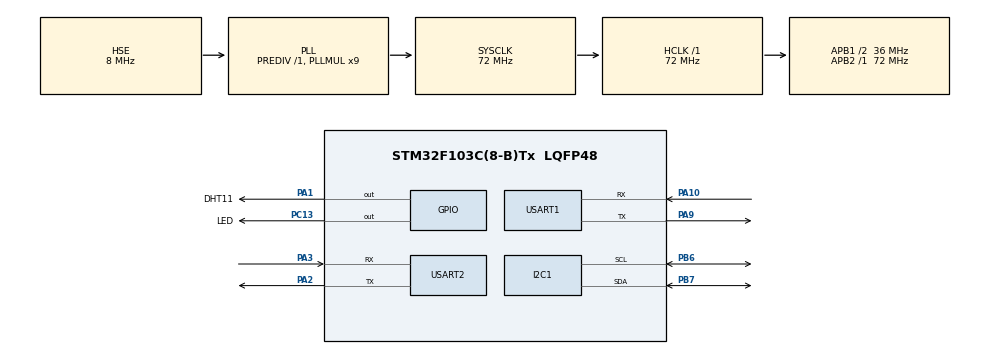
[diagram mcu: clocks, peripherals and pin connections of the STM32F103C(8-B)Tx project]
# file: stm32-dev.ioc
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Dma.I2C1_TX.0.Direction=DMA_MEMORY_TO_PERIPH
Dma.I2C1_TX.0.Instance=DMA1_Channel6
Dma.I2C1_TX.0.MemDataAlignment=DMA_MDATAALIGN_BYTE
Dma.I2C1_TX.0.MemInc=DMA_MINC_ENABLE
Dma.I2C1_TX.0.Mode=DMA_NORMAL
Dma.I2C1_TX.0.PeriphDataAlignment=DMA_PDATAALIGN_BYTE
Dma.I2C1_TX.0.PeriphInc=DMA_PINC_DISABLE
Dma.I2C1_TX.0.Priority=DMA_PRIORITY_LOW
Dma.Request0=I2C1_TX
FREERTOS.Mutexes01=screenUpdateMutex,Dynamic,NULL,Available
FREERTOS.Queues01=sensorDataQueue,1,8,1,Dynamic,NULL,NULL
FREERTOS.Tasks01=ledTask,24,128,StartLedTask,Default,NULL,Dynamic,NULL,NULL;sensorTask,24,256,StartSensorTask,Default,NULL,Dynamic,NULL,NULL;displayTask,16,256,StartDisplayTask,Default,NULL,Dynamic,NULL,NULL
FREERTOS.configTOTAL_HEAP_SIZE=4096
I2C1.I2C_Mode=I2C_Fast
Mcu.Family=STM32F1
Mcu.Name=STM32F103C(8-B)Tx
Mcu.Package=LQFP48
NVIC.DMA1_Channel6_IRQn=true\:5\:0\:false\:false\:true\:true\:false\:true\:true
NVIC.I2C1_ER_IRQn=true\:5\:0\:false\:false\:true\:true\:true\:true\:true
NVIC.I2C1_EV_IRQn=true\:5\:0\:false\:false\:true\:true\:true\:true\:true
NVIC.PriorityGroup=NVIC_PRIORITYGROUP_4
NVIC.TIM3_IRQn=true\:5\:0\:false\:false\:true\:true\:true\:true\:true
NVIC.TIM4_IRQn=true\:15\:0\:false\:false\:true\:false\:false\:true\:true
NVIC.TimeBase=TIM4_IRQn
NVIC.TimeBaseIP=TIM4
NVIC.USART2_IRQn=true\:5\:0\:false\:false\:true\:true\:true\:true\:true
PA1.GPIO_Label=DHT11
PA1.PinState=GPIO_PIN_SET
PA1.Signal=GPIO_Output
PA10.Mode=Asynchronous
PA10.Signal=USART1_RX
PA13.Mode=Serial_Wire
PA13.Signal=SYS_JTMS-SWDIO
PA14.Mode=Serial_Wire
PA14.Signal=SYS_JTCK-SWCLK
PA2.Mode=Asynchronous
PA2.Signal=USART2_TX
PA3.Mode=Asynchronous
PA3.Signal=USART2_RX
PA9.Mode=Asynchronous
PA9.Signal=USART1_TX
PB6.Mode=I2C
PB6.Signal=I2C1_SCL
PB7.Mode=I2C
PB7.Signal=I2C1_SDA
PC13-TAMPER-RTC.GPIO_Label=LED
PC13-TAMPER-RTC.Signal=GPIO_Output
PD0-OSC_IN.Mode=HSE-External-Oscillator
PD0-OSC_IN.Signal=RCC_OSC_IN
PD1-OSC_OUT.Mode=HSE-External-Oscillator
PD1-OSC_OUT.Signal=RCC_OSC_OUT
ProjectManager.HeapSize=0x200
ProjectManager.StackSize=0x400
ProjectManager.TargetToolchain=CMake
RCC.AHBFreq_Value=72000000
RCC.APB1CLKDivider=RCC_HCLK_DIV2
RCC.APB1Freq_Value=36000000
RCC.APB1TimFreq_Value=72000000
RCC.APB2Freq_Value=72000000
RCC.APB2TimFreq_Value=72000000
RCC.HCLKFreq_Value=72000000
RCC.PLLMUL=RCC_PLL_MUL9
RCC.PLLSourceVirtual=RCC_PLLSOURCE_HSE
RCC.SYSCLKFreq_VALUE=72000000
RCC.SYSCLKSource=RCC_SYSCLKSOURCE_PLLCLK
RCC.USBFreq_Value=72000000
TIM2.Prescaler=71
TIM3.Prescaler=7199
USART1.VirtualMode=VM_ASYNC
USART2.VirtualMode=VM_ASYNC
VP_FREERTOS_VS_CMSIS_V2.Mode=CMSIS_V2
VP_SYS_VS_tim4.Mode=TIM4
VP_TIM2_VS_ClockSourceINT.Mode=Internal
VP_TIM3_VS_ClockSourceINT.Mode=Internal
board=custom

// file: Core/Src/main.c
/* USER CODE BEGIN Header */
/**
  ******************************************************************************
  * @file           : main.c
  * @brief          : Main program body
  ******************************************************************************
  * @attention
  *
  * Copyright (c) 2025 STMicroelectronics.
  * All rights reserved.
  *
  * This software is licensed under terms that can be found in the LICENSE file
  * in the root directory of this software component.
  * If no LICENSE file comes with this software, it is provided AS-IS.
  *
  ******************************************************************************
  */
/* USER CODE END Header */
#include "main.h"
#include "cmsis_os.h"
#include "dma.h"
#include "i2c.h"
#include "tim.h"
#include "usart.h"
#include "gpio.h"

/* USER CODE BEGIN PV */
osSemaphoreId_t i2cDmaSemaphoreHandle;
const osSemaphoreAttr_t i2cDmaSemaphore_attributes = {
  .name = "i2cDmaSemaphore"
};
volatile uint32_t g_HighFrequencyTimerTicks = 0;
/* USER CODE END PV */

void SystemClock_Config(void);
void MX_FREERTOS_Init(void);

int main(void)
{

  /* MCU Configuration--------------------------------------------------------*/

  /* Reset of all peripherals, Initializes the Flash interface and the Systick. */
  HAL_Init();

  /* Configure the system clock */
  SystemClock_Config();

  /* Initialize all configured peripherals */
  MX_GPIO_Init();
  MX_DMA_Init();
  MX_I2C1_Init();
  MX_USART1_UART_Init();
  MX_TIM2_Init();
  MX_USART2_UART_Init();
  MX_TIM3_Init();
  /* USER CODE BEGIN 2 */
  i2cDmaSemaphoreHandle = osSemaphoreNew(1, 0, &i2cDmaSemaphore_attributes);
  if (i2cDmaSemaphoreHandle == NULL) {
    Error_Handler();
  }
  /* USER CODE END 2 */

  /* Init scheduler */
  osKernelInitialize();  /* Call init function for freertos objects (in cmsis_os2.c) */
  MX_FREERTOS_Init();

  /* Start scheduler */
  osKernelStart();

  /* We should never get here as control is now taken by the scheduler */

  /* Infinite loop */
  while (1)
  {

  }
}

void SystemClock_Config(void)
{
  RCC_OscInitTypeDef RCC_OscInitStruct = {0};
  RCC_ClkInitTypeDef RCC_ClkInitStruct = {0};

  /** Initializes the RCC Oscillators according to the specified parameters
  * in the RCC_OscInitTypeDef structure.
  */
  RCC_OscInitStruct.OscillatorType = RCC_OSCILLATORTYPE_HSE;
  RCC_OscInitStruct.HSEState = RCC_HSE_ON;
  RCC_OscInitStruct.HSEPredivValue = RCC_HSE_PREDIV_DIV1;
  RCC_OscInitStruct.HSIState = RCC_HSI_ON;
  RCC_OscInitStruct.PLL.PLLState = RCC_PLL_ON;
  RCC_OscInitStruct.PLL.PLLSource = RCC_PLLSOURCE_HSE;
  RCC_OscInitStruct.PLL.PLLMUL = RCC_PLL_MUL9;
  if (HAL_RCC_OscConfig(&RCC_OscInitStruct) != HAL_OK)
  {
    Error_Handler();
  }

  /** Initializes the CPU, AHB and APB buses clocks
  */
  RCC_ClkInitStruct.ClockType = RCC_CLOCKTYPE_HCLK|RCC_CLOCKTYPE_SYSCLK
                              |RCC_CLOCKTYPE_PCLK1|RCC_CLOCKTYPE_PCLK2;
  RCC_ClkInitStruct.SYSCLKSource = RCC_SYSCLKSOURCE_PLLCLK;
  RCC_ClkInitStruct.AHBCLKDivider = RCC_SYSCLK_DIV1;
  RCC_ClkInitStruct.APB1CLKDivider = RCC_HCLK_DIV2;
  RCC_ClkInitStruct.APB2CLKDivider = RCC_HCLK_DIV1;

  if (HAL_RCC_ClockConfig(&RCC_ClkInitStruct, FLASH_LATENCY_2) != HAL_OK)
  {
    Error_Handler();
  }
}

void HAL_TIM_PeriodElapsedCallback(TIM_HandleTypeDef *htim)
{
  /* USER CODE BEGIN Callback 0 */
  if (htim->Instance == TIM3) {
    g_HighFrequencyTimerTicks++;
  }
  /* USER CODE END Callback 0 */
  if (htim->Instance == TIM4)
  {
    HAL_IncTick();
  }
}

void Error_Handler(void)
{
  __disable_irq();
  while (1)
  {
  }
}

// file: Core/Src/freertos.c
/* USER CODE BEGIN Header */
/**
  ******************************************************************************
  * File Name          : freertos.c
  * Description        : Code for freertos applications
  ******************************************************************************
  * @attention
  *
  * Copyright (c) 2025 STMicroelectronics.
  * All rights reserved.
  *
  * This software is licensed under terms that can be found in the LICENSE file
  * in the root directory of this software component.
  * If no LICENSE file comes with this software, it is provided AS-IS.
  *
  ******************************************************************************
  */
/* USER CODE END Header */

#include "FreeRTOS.h"
#include "task.h"
#include "main.h"
#include "cmsis_os.h"

/* USER CODE BEGIN Includes */
#include <math.h>
#include <stdarg.h>
#include <stdio.h>
#include <stdlib.h>
#include <string.h>

#include "DHT11.h"
#include "tim.h"
#include "u8g2.h"
#include "u8g2_stm32_hal.h"
#include "usart.h"
#include "face_wrapper.h"
/* USER CODE END Includes */

/* USER CODE BEGIN Variables */
static u8g2_t u8g2;
/* USER CODE END Variables */
/* Definitions for ledTask */
osThreadId_t ledTaskHandle;
const osThreadAttr_t ledTask_attributes = {
  .name = "ledTask",
  .stack_size = 128 * 4,
  .priority = (osPriority_t) osPriorityNormal,
};
/* Definitions for sensorTask */
osThreadId_t sensorTaskHandle;
const osThreadAttr_t sensorTask_attributes = {
  .name = "sensorTask",
  .stack_size = 256 * 4,
  .priority = (osPriority_t) osPriorityNormal,
};
/* Definitions for displayTask */
osThreadId_t displayTaskHandle;
const osThreadAttr_t displayTask_attributes = {
  .name = "displayTask",
  .stack_size = 256 * 4,
  .priority = (osPriority_t) osPriorityBelowNormal,
};
/* Definitions for sensorDataQueue */
osMessageQueueId_t sensorDataQueueHandle;
const osMessageQueueAttr_t sensorDataQueue_attributes = {
  .name = "sensorDataQueue"
};
/* Definitions for screenUpdateMutex */
osMutexId_t screenUpdateMutexHandle;
const osMutexAttr_t screenUpdateMutex_attributes = {
  .name = "screenUpdateMutex"
};

void StartLedTask(void *argument);
void StartSensorTask(void *argument);
void StartDisplayTask(void *argument);

void MX_FREERTOS_Init(void); /* (MISRA C 2004 rule 8.1) */

void MX_FREERTOS_Init(void) {
  /* USER CODE BEGIN Init */
  UART_Printf(&huart1, "[USER] STM32 USART1 is working!\r\n");
  /* USER CODE END Init */
  /* Create the mutex(es) */
  /* creation of screenUpdateMutex */
  screenUpdateMutexHandle = osMutexNew(&screenUpdateMutex_attributes);

  /* Create the queue(s) */
  /* creation of sensorDataQueue */
  sensorDataQueueHandle = osMessageQueueNew (1, 8, &sensorDataQueue_attributes);

  /* Create the thread(s) */
  /* creation of ledTask */
  ledTaskHandle = osThreadNew(StartLedTask, NULL, &ledTask_attributes);

  /* creation of sensorTask */
  sensorTaskHandle = osThreadNew(StartSensorTask, NULL, &sensorTask_attributes);

  /* creation of displayTask */
  displayTaskHandle = osThreadNew(StartDisplayTask, NULL, &displayTask_attributes);

}

/* USER CODE BEGIN Header_StartLedTask */
/**
  * @brief  Blink the LED every 500ms
  * @param  argument: Not used
  * @retval None
  */
/* USER CODE END Header_StartLedTask */
void StartLedTask(void *argument)
{
  /* USER CODE BEGIN StartLedTask */
  /* Infinite loop */
  for(;;)
  {
    HAL_GPIO_TogglePin(LED_GPIO_Port, LED_Pin);
    osDelay(500);
  }
  /* USER CODE END StartLedTask */
}

/* USER CODE BEGIN Header_StartSensorTask */
/**
* @brief Read humidity and temperature from DHT11 sensor every 2s
* @param argument: Not used
* @retval None
*/
/* USER CODE END Header_StartSensorTask */
void StartSensorTask(void *argument)
{
  /* USER CODE BEGIN StartSensorTask */
  DHT11_InitTypeDef dht;
  HAL_DHT11_Init(&dht, DHT11_GPIO_Port, DHT11_Pin, &htim2);
  DHT11_DATA_S sensorData;
  DHT11_StatusTypeDef ret;

  /* Infinite loop */
  for (;;) {
    ret = HAL_DHT11_ReadData(&dht);
    if (ret == DHT11_OK) {
      sensorData.humidity = dht.Humidity;
      sensorData.temperature = dht.Temperature;

      osMessageQueuePut(sensorDataQueueHandle, &sensorData, 0U, 0U);
    } else {
      UART_Printf(&huart1, "[USER] read data from DHT11 failed, ret %u\r\n", ret);
    }

    osDelay(2000);
  }

  HAL_DHT11_DeInit(&dht);
  /* USER CODE END StartSensorTask */
}

void StartDisplayTask(void *argument)
{
  /* USER CODE BEGIN StartDisplayTask */
  DHT11_DATA_S receivedData = {0};
  osStatus_t status;

  u8g2_Setup_sh1106_i2c_128x64_noname_f_hal(&u8g2, U8G2_R0);
  u8g2_InitDisplay(&u8g2);
  u8g2_SetPowerSave(&u8g2, 0);

  FaceHandle myFace = Face_Create();
  Face_Init(myFace);

  UART_Printf(&huart1, "[USER] SH1106 display initialized\r\n");

  const uint32_t FRAME_RATE = 20;
  const uint32_t FRAME_PERIOD_MS = 1000 / FRAME_RATE;

  uint32_t lastWakeTime = osKernelGetTickCount();

  /* Infinite loop */
  for (;;) {
    // Wait until the next frame time
    osDelayUntil(lastWakeTime + FRAME_PERIOD_MS);
    lastWakeTime = osKernelGetTickCount();

    uint32_t currentTime = lastWakeTime;

    status = osMessageQueueGet(sensorDataQueueHandle, &receivedData, NULL, 0);
    if (status == osOK) {  // do nothing for now
    }

    Face_Update(myFace, currentTime);

    if (osMutexAcquire(screenUpdateMutexHandle, 10) == osOK) {
      u8g2_ClearBuffer(&u8g2);
      Face_Draw(myFace, &u8g2, currentTime);
      u8g2_SendBuffer(&u8g2);

      (void)osMutexRelease(screenUpdateMutexHandle);
    } else {
      UART_Printf(&huart1, "[USER] [WARN] Skip frame, mutex busy.\r\n");
    }
  }
  /* USER CODE END StartDisplayTask */
}
